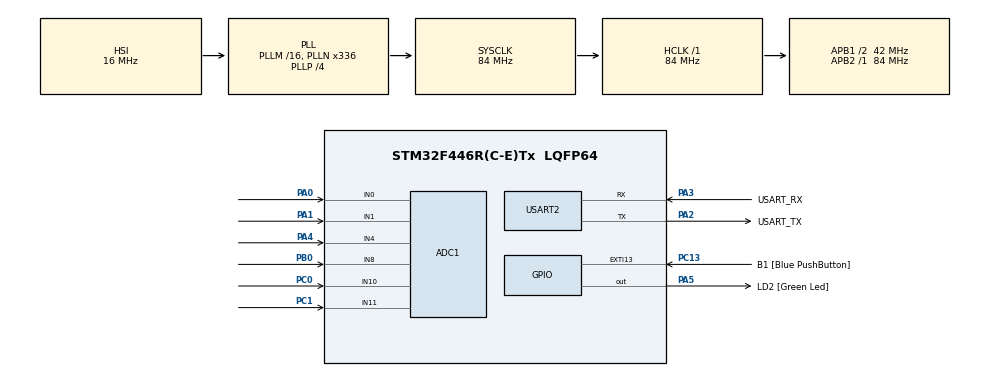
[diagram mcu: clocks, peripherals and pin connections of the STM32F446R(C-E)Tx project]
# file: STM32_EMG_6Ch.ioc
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ADC1.Channel-0\#ChannelRegularConversion=ADC_CHANNEL_0
ADC1.Channel-1\#ChannelRegularConversion=ADC_CHANNEL_1
ADC1.Channel-2\#ChannelRegularConversion=ADC_CHANNEL_4
ADC1.Channel-3\#ChannelRegularConversion=ADC_CHANNEL_8
ADC1.Channel-4\#ChannelRegularConversion=ADC_CHANNEL_11
ADC1.Channel-5\#ChannelRegularConversion=ADC_CHANNEL_10
ADC1.ContinuousConvMode=DISABLE
ADC1.DMAContinuousRequests=ENABLE
ADC1.ExternalTrigConv=ADC_EXTERNALTRIGCONV_T2_TRGO
ADC1.NbrOfConversion=6
ADC1.NbrOfConversionFlag=1
ADC1.Rank-0\#ChannelRegularConversion=1
ADC1.Rank-1\#ChannelRegularConversion=2
ADC1.Rank-2\#ChannelRegularConversion=3
ADC1.Rank-3\#ChannelRegularConversion=4
ADC1.Rank-4\#ChannelRegularConversion=5
ADC1.Rank-5\#ChannelRegularConversion=6
ADC1.SamplingTime-0\#ChannelRegularConversion=ADC_SAMPLETIME_3CYCLES
ADC1.SamplingTime-1\#ChannelRegularConversion=ADC_SAMPLETIME_3CYCLES
ADC1.SamplingTime-2\#ChannelRegularConversion=ADC_SAMPLETIME_3CYCLES
ADC1.SamplingTime-3\#ChannelRegularConversion=ADC_SAMPLETIME_3CYCLES
ADC1.SamplingTime-4\#ChannelRegularConversion=ADC_SAMPLETIME_3CYCLES
ADC1.SamplingTime-5\#ChannelRegularConversion=ADC_SAMPLETIME_3CYCLES
ADC1.ScanConvMode=ENABLE
ADC1.master=1
Dma.ADC1.0.Direction=DMA_PERIPH_TO_MEMORY
Dma.ADC1.0.FIFOMode=DMA_FIFOMODE_DISABLE
Dma.ADC1.0.Instance=DMA2_Stream0
Dma.ADC1.0.MemDataAlignment=DMA_MDATAALIGN_HALFWORD
Dma.ADC1.0.MemInc=DMA_MINC_ENABLE
Dma.ADC1.0.Mode=DMA_CIRCULAR
Dma.ADC1.0.PeriphDataAlignment=DMA_PDATAALIGN_HALFWORD
Dma.ADC1.0.PeriphInc=DMA_PINC_DISABLE
Dma.ADC1.0.Priority=DMA_PRIORITY_LOW
Dma.Request0=ADC1
Mcu.Family=STM32F4
Mcu.Name=STM32F446R(C-E)Tx
Mcu.Package=LQFP64
NVIC.ADC_IRQn=true\:0\:0\:false\:false\:true\:true\:true\:true
NVIC.DMA2_Stream0_IRQn=true\:0\:0\:false\:false\:true\:false\:true\:true
NVIC.PriorityGroup=NVIC_PRIORITYGROUP_0
NVIC.TIM1_UP_TIM10_IRQn=true\:0\:0\:false\:false\:true\:true\:true\:true
PA0-WKUP.Signal=ADCx_IN0
PA1.Signal=ADCx_IN1
PA13.GPIO_Label=TMS
PA13.Mode=Serial_Wire
PA13.Signal=SYS_JTMS-SWDIO
PA14.GPIO_Label=TCK
PA14.Mode=Serial_Wire
PA14.Signal=SYS_JTCK-SWCLK
PA2.GPIO_Label=USART_TX
PA2.Mode=Asynchronous
PA2.Signal=USART2_TX
PA3.GPIO_Label=USART_RX
PA3.Mode=Asynchronous
PA3.Signal=USART2_RX
PA4.Signal=ADCx_IN4
PA5.GPIO_Label=LD2 [Green Led]
PA5.Signal=GPIO_Output
PB0.Signal=ADCx_IN8
PB3.GPIO_Label=SWO
PB3.Signal=SYS_JTDO-SWO
PC0.Signal=ADCx_IN10
PC1.Signal=ADCx_IN11
PC13.GPIO_Label=B1 [Blue PushButton]
PC13.GPIO_ModeDefaultEXTI=GPIO_MODE_IT_FALLING
PC13.Signal=GPXTI13
PC14-OSC32_IN.Mode=LSE-External-Oscillator
PC14-OSC32_IN.Signal=RCC_OSC32_IN
PC15-OSC32_OUT.Mode=LSE-External-Oscillator
PC15-OSC32_OUT.Signal=RCC_OSC32_OUT
PH0-OSC_IN.Mode=HSE-External-Oscillator
PH0-OSC_IN.Signal=RCC_OSC_IN
PH1-OSC_OUT.Mode=HSE-External-Oscillator
PH1-OSC_OUT.Signal=RCC_OSC_OUT
ProjectManager.HeapSize=0x200
ProjectManager.StackSize=0x400
ProjectManager.TargetToolchain=STM32CubeIDE
RCC.48MHZClocksFreq_Value=84000000
RCC.AHBFreq_Value=84000000
RCC.APB1CLKDivider=RCC_HCLK_DIV2
RCC.APB1Freq_Value=42000000
RCC.APB1TimFreq_Value=84000000
RCC.APB2Freq_Value=84000000
RCC.APB2TimFreq_Value=84000000
RCC.CortexFreq_Value=84000000
RCC.FLatency-AdvancedSettings=FLASH_LATENCY_2
RCC.HCLKFreq_Value=84000000
RCC.HSE_VALUE=8000000
RCC.HSI_VALUE=16000000
RCC.PLLN=336
RCC.PLLP=RCC_PLLP_DIV4
RCC.SYSCLKFreq_VALUE=84000000
RCC.SYSCLKSource=RCC_SYSCLKSOURCE_PLLCLK
RCC.USBFreq_Value=168000000
RCC.VCOOutputFreq_Value=336000000
SH.ADCx_IN0.0=ADC1_IN0,IN0
SH.ADCx_IN1.0=ADC1_IN1,IN1
SH.ADCx_IN10.0=ADC1_IN10,IN10
SH.ADCx_IN11.0=ADC1_IN11,IN11
SH.ADCx_IN4.0=ADC1_IN4,IN4
SH.ADCx_IN8.0=ADC1_IN8,IN8
TIM1.Period=10000-1
TIM1.Prescaler=8400-1
TIM2.Period=1000-1
TIM2.Prescaler=84-1
TIM2.TIM_MasterOutputTrigger=TIM_TRGO_UPDATE
USART2.VirtualMode=VM_ASYNC
VP_TIM1_VS_ClockSourceINT.Mode=Internal
VP_TIM2_VS_ClockSourceINT.Mode=Internal
board=NUCLEO-F446RE

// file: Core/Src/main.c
/* USER CODE BEGIN Header */
/**
  ******************************************************************************
  * @file           : main.c
  * @brief          : Main program body
  ******************************************************************************
  * @attention
  *
  * Copyright (c) 2025 STMicroelectronics.
  * All rights reserved.
  *
  * This software is licensed under terms that can be found in the LICENSE file
  * in the root directory of this software component.
  * If no LICENSE file comes with this software, it is provided AS-IS.
  *
  ******************************************************************************
  */
/* USER CODE END Header */
#include "main.h"

/* USER CODE BEGIN Includes */
#include "notch_filter.h"
/* USER CODE END Includes */

ADC_HandleTypeDef hadc1;
DMA_HandleTypeDef hdma_adc1;

TIM_HandleTypeDef htim1;
TIM_HandleTypeDef htim2;

UART_HandleTypeDef huart2;

/* USER CODE BEGIN PV */
static NotchState g_notch50;
static NotchState g_notch60;

uint32_t hclk = 84000000;

uint32_t timer_prescaler = 84 - 1;
uint32_t timer_arr;

uint32_t sampling_freq;
uint32_t timer_freq;

uint16_t adc_values[6];
uint16_t tmp[6];
uint16_t filt[6];
__IO uint8_t adc_conv = 0;

uint16_t timer_reload = 0;
uint16_t timer_val;

uint8_t tx_buffer[16];

/* USER CODE END PV */

void SystemClock_Config(void);
static void MX_GPIO_Init(void);
static void MX_DMA_Init(void);
static void MX_USART2_UART_Init(void);
static void MX_ADC1_Init(void);
static void MX_TIM2_Init(void);
static void MX_TIM1_Init(void);

/* USER CODE BEGIN 0 */
void HAL_ADC_ConvCpltCallback(ADC_HandleTypeDef *hadc)
{
	if (hadc->Instance == ADC1)
	{
		adc_conv = 1;
	}
}

void HAL_TIM_PeriodElapsedCallback(TIM_HandleTypeDef *htim)
{
	if (htim == &htim1)
	{
		timer_reload += 1;
	}
}
/* USER CODE END 0 */

int main(void)
{

  /* USER CODE BEGIN 1 */
  sampling_freq = 250; /* t = 1/1000 = 1 ms */
  timer_freq = hclk / (timer_prescaler + 1); /* 1000000 Hz, t = 1/1000000 = 1 us */
  timer_arr = (timer_freq / sampling_freq) - 1; /* 1000 */
  /* USER CODE END 1 */

  /* MCU Configuration--------------------------------------------------------*/

  /* Reset of all peripherals, Initializes the Flash interface and the Systick. */
  HAL_Init();

  /* Configure the system clock */
  SystemClock_Config();

  /* Initialize all configured peripherals */
  MX_GPIO_Init();
  MX_DMA_Init();
  MX_USART2_UART_Init();
  MX_ADC1_Init();
  MX_TIM2_Init();
  MX_TIM1_Init();
  /* USER CODE BEGIN 2 */
  HAL_ADC_Start_DMA(&hadc1, (uint32_t*)adc_values, 6);

  HAL_TIM_Base_Start(&htim2);
  HAL_TIM_Base_Start_IT(&htim1);

  Notch_Init(&g_notch50, sampling_freq, 50, 30);
  Notch_Init(&g_notch60, sampling_freq, 60, 30);
  /* USER CODE END 2 */

  /* Infinite loop */
  /* USER CODE BEGIN WHILE */
  while (1)
  {
	  if (adc_conv == 1)
	  {
		  timer_val = (uint16_t)(__HAL_TIM_GET_COUNTER(&htim1) / 10) + (1000 * timer_reload);

		  Notch_FilterArray(&g_notch50, adc_values, tmp, 6, 0, 4095);
		  Notch_FilterArray(&g_notch60, tmp, filt, 6, 0, 4095);

		  // Pack exactly like original
		  tx_buffer[0]  = 0xAA;  // Header byte 1
		  tx_buffer[1]  = 0x55;  // Header byte 2

		  // 6 channels, each LSB then MSB
		  tx_buffer[2]  =  filt[0]        & 0xFF;
		  tx_buffer[3]  = (filt[0] >> 8)  & 0xFF;

		  tx_buffer[4]  =  filt[1]        & 0xFF;
		  tx_buffer[5]  = (filt[1] >> 8)  & 0xFF;

		  tx_buffer[6]  =  filt[2]        & 0xFF;
		  tx_buffer[7]  = (filt[2] >> 8)  & 0xFF;

		  tx_buffer[8]  =  filt[3]        & 0xFF;
		  tx_buffer[9]  = (filt[3] >> 8)  & 0xFF;

		  tx_buffer[10] =  filt[4]        & 0xFF;
		  tx_buffer[11] = (filt[4] >> 8)  & 0xFF;

		  tx_buffer[12] =  filt[5]        & 0xFF;
		  tx_buffer[13] = (filt[5] >> 8)  & 0xFF;

		  // Timer value (LSB then MSB)
		  tx_buffer[14] =  timer_val       & 0xFF;
		  tx_buffer[15] = (timer_val >> 8) & 0xFF;

		  // Transmit
		  HAL_UART_Transmit(&huart2, tx_buffer, sizeof(tx_buffer), HAL_MAX_DELAY);

//	      tx_buffer[0] = 0xAA;  // Header byte 1
//	      tx_buffer[1] = 0x55;  // Header byte 2
//
//	      // Pack all 6 ADC channels (LSB then MSB)
//	      tx_buffer[2]  = adc_values[0] & 0xFF;
//	      tx_buffer[3]  = (adc_values[0] >> 8) & 0xFF;
//
//	      tx_buffer[4]  = adc_values[1] & 0xFF;
//	      tx_buffer[5]  = (adc_values[1] >> 8) & 0xFF;
//
//	      tx_buffer[6]  = adc_values[2] & 0xFF;
//	      tx_buffer[7]  = (adc_values[2] >> 8) & 0xFF;
//
//	      tx_buffer[8]  = adc_values[3] & 0xFF;
//	      tx_buffer[9]  = (adc_values[3] >> 8) & 0xFF;
//
//	      tx_buffer[10] = adc_values[4] & 0xFF;
//	      tx_buffer[11] = (adc_values[4] >> 8) & 0xFF;
//
//	      tx_buffer[12] = adc_values[5] & 0xFF;
//	      tx_buffer[13] = (adc_values[5] >> 8) & 0xFF;
//
//	      // Timer value (LSB then MSB)
//	      tx_buffer[14] = timer_val & 0xFF;
//	      tx_buffer[15] = (timer_val >> 8) & 0xFF;
//
//	      HAL_UART_Transmit(&huart2, tx_buffer, sizeof(tx_buffer), HAL_MAX_DELAY);

		  adc_conv = 0;
	  }
    /* USER CODE END WHILE */

  }
}

void SystemClock_Config(void)
{
  RCC_OscInitTypeDef RCC_OscInitStruct = {0};
  RCC_ClkInitTypeDef RCC_ClkInitStruct = {0};

  /** Configure the main internal regulator output voltage
  */
  __HAL_RCC_PWR_CLK_ENABLE();
  __HAL_PWR_VOLTAGESCALING_CONFIG(PWR_REGULATOR_VOLTAGE_SCALE3);

  /** Initializes the RCC Oscillators according to the specified parameters
  * in the RCC_OscInitTypeDef structure.
  */
  RCC_OscInitStruct.OscillatorType = RCC_OSCILLATORTYPE_HSI;
  RCC_OscInitStruct.HSIState = RCC_HSI_ON;
  RCC_OscInitStruct.HSICalibrationValue = RCC_HSICALIBRATION_DEFAULT;
  RCC_OscInitStruct.PLL.PLLState = RCC_PLL_ON;
  RCC_OscInitStruct.PLL.PLLSource = RCC_PLLSOURCE_HSI;
  RCC_OscInitStruct.PLL.PLLM = 16;
  RCC_OscInitStruct.PLL.PLLN = 336;
  RCC_OscInitStruct.PLL.PLLP = RCC_PLLP_DIV4;
  RCC_OscInitStruct.PLL.PLLQ = 2;
  RCC_OscInitStruct.PLL.PLLR = 2;
  if (HAL_RCC_OscConfig(&RCC_OscInitStruct) != HAL_OK)
  {
    Error_Handler();
  }

  /** Initializes the CPU, AHB and APB buses clocks
  */
  RCC_ClkInitStruct.ClockType = RCC_CLOCKTYPE_HCLK|RCC_CLOCKTYPE_SYSCLK
                              |RCC_CLOCKTYPE_PCLK1|RCC_CLOCKTYPE_PCLK2;
  RCC_ClkInitStruct.SYSCLKSource = RCC_SYSCLKSOURCE_PLLCLK;
  RCC_ClkInitStruct.AHBCLKDivider = RCC_SYSCLK_DIV1;
  RCC_ClkInitStruct.APB1CLKDivider = RCC_HCLK_DIV2;
  RCC_ClkInitStruct.APB2CLKDivider = RCC_HCLK_DIV1;

  if (HAL_RCC_ClockConfig(&RCC_ClkInitStruct, FLASH_LATENCY_2) != HAL_OK)
  {
    Error_Handler();
  }
}

static void MX_ADC1_Init(void)
{

  ADC_ChannelConfTypeDef sConfig = {0};

  /** Configure the global features of the ADC (Clock, Resolution, Data Alignment and number of conversion)
  */
  hadc1.Instance = ADC1;
  hadc1.Init.ClockPrescaler = ADC_CLOCK_SYNC_PCLK_DIV4;
  hadc1.Init.Resolution = ADC_RESOLUTION_12B;
  hadc1.Init.ScanConvMode = ENABLE;
  hadc1.Init.ContinuousConvMode = DISABLE;
  hadc1.Init.DiscontinuousConvMode = DISABLE;
  hadc1.Init.ExternalTrigConvEdge = ADC_EXTERNALTRIGCONVEDGE_RISING;
  hadc1.Init.ExternalTrigConv = ADC_EXTERNALTRIGCONV_T2_TRGO;
  hadc1.Init.DataAlign = ADC_DATAALIGN_RIGHT;
  hadc1.Init.NbrOfConversion = 6;
  hadc1.Init.DMAContinuousRequests = ENABLE;
  hadc1.Init.EOCSelection = ADC_EOC_SINGLE_CONV;
  if (HAL_ADC_Init(&hadc1) != HAL_OK)
  {
    Error_Handler();
  }

  /** Configure for the selected ADC regular channel its corresponding rank in the sequencer and its sample time.
  */
  sConfig.Channel = ADC_CHANNEL_0;
  sConfig.Rank = 1;
  sConfig.SamplingTime = ADC_SAMPLETIME_3CYCLES;
  if (HAL_ADC_ConfigChannel(&hadc1, &sConfig) != HAL_OK)
  {
    Error_Handler();
  }

  /** Configure for the selected ADC regular channel its corresponding rank in the sequencer and its sample time.
  */
  sConfig.Channel = ADC_CHANNEL_1;
  sConfig.Rank = 2;
  if (HAL_ADC_ConfigChannel(&hadc1, &sConfig) != HAL_OK)
  {
    Error_Handler();
  }

  /** Configure for the selected ADC regular channel its corresponding rank in the sequencer and its sample time.
  */
  sConfig.Channel = ADC_CHANNEL_4;
  sConfig.Rank = 3;
  if (HAL_ADC_ConfigChannel(&hadc1, &sConfig) != HAL_OK)
  {
    Error_Handler();
  }

  /** Configure for the selected ADC regular channel its corresponding rank in the sequencer and its sample time.
  */
  sConfig.Channel = ADC_CHANNEL_8;
  sConfig.Rank = 4;
  if (HAL_ADC_ConfigChannel(&hadc1, &sConfig) != HAL_OK)
  {
    Error_Handler();
  }

  /** Configure for the selected ADC regular channel its corresponding rank in the sequencer and its sample time.
  */
  sConfig.Channel = ADC_CHANNEL_11;
  sConfig.Rank = 5;
  if (HAL_ADC_ConfigChannel(&hadc1, &sConfig) != HAL_OK)
  {
    Error_Handler();
  }

  /** Configure for the selected ADC regular channel its corresponding rank in the sequencer and its sample time.
  */
  sConfig.Channel = ADC_CHANNEL_10;
  sConfig.Rank = 6;
  if (HAL_ADC_ConfigChannel(&hadc1, &sConfig) != HAL_OK)
  {
    Error_Handler();
  }

}

static void MX_TIM1_Init(void)
{

  TIM_ClockConfigTypeDef sClockSourceConfig = {0};
  TIM_MasterConfigTypeDef sMasterConfig = {0};

  htim1.Instance = TIM1;
  htim1.Init.Prescaler = 8400-1;
  htim1.Init.CounterMode = TIM_COUNTERMODE_UP;
  htim1.Init.Period = 10000-1;
  htim1.Init.ClockDivision = TIM_CLOCKDIVISION_DIV1;
  htim1.Init.RepetitionCounter = 0;
  htim1.Init.AutoReloadPreload = TIM_AUTORELOAD_PRELOAD_DISABLE;
  if (HAL_TIM_Base_Init(&htim1) != HAL_OK)
  {
    Error_Handler();
  }
  sClockSourceConfig.ClockSource = TIM_CLOCKSOURCE_INTERNAL;
  if (HAL_TIM_ConfigClockSource(&htim1, &sClockSourceConfig) != HAL_OK)
  {
    Error_Handler();
  }
  sMasterConfig.MasterOutputTrigger = TIM_TRGO_RESET;
  sMasterConfig.MasterSlaveMode = TIM_MASTERSLAVEMODE_DISABLE;
  if (HAL_TIMEx_MasterConfigSynchronization(&htim1, &sMasterConfig) != HAL_OK)
  {
    Error_Handler();
  }

}

static void MX_TIM2_Init(void)
{

  TIM_ClockConfigTypeDef sClockSourceConfig = {0};
  TIM_MasterConfigTypeDef sMasterConfig = {0};

  htim2.Instance = TIM2;
  htim2.Init.Prescaler = 84-1;
  htim2.Init.CounterMode = TIM_COUNTERMODE_UP;
  htim2.Init.Period = timer_arr;
  htim2.Init.ClockDivision = TIM_CLOCKDIVISION_DIV1;
  htim2.Init.AutoReloadPreload = TIM_AUTORELOAD_PRELOAD_DISABLE;
  if (HAL_TIM_Base_Init(&htim2) != HAL_OK)
  {
    Error_Handler();
  }
  sClockSourceConfig.ClockSource = TIM_CLOCKSOURCE_INTERNAL;
  if (HAL_TIM_ConfigClockSource(&htim2, &sClockSourceConfig) != HAL_OK)
  {
    Error_Handler();
  }
  sMasterConfig.MasterOutputTrigger = TIM_TRGO_UPDATE;
  sMasterConfig.MasterSlaveMode = TIM_MASTERSLAVEMODE_DISABLE;
  if (HAL_TIMEx_MasterConfigSynchronization(&htim2, &sMasterConfig) != HAL_OK)
  {
    Error_Handler();
  }

}

static void MX_USART2_UART_Init(void)
{

  huart2.Instance = USART2;
  huart2.Init.BaudRate = 115200;
  huart2.Init.WordLength = UART_WORDLENGTH_8B;
  huart2.Init.StopBits = UART_STOPBITS_1;
  huart2.Init.Parity = UART_PARITY_NONE;
  huart2.Init.Mode = UART_MODE_TX_RX;
  huart2.Init.HwFlowCtl = UART_HWCONTROL_NONE;
  huart2.Init.OverSampling = UART_OVERSAMPLING_16;
  if (HAL_UART_Init(&huart2) != HAL_OK)
  {
    Error_Handler();
  }

}

static void MX_DMA_Init(void)
{

  /* DMA controller clock enable */
  __HAL_RCC_DMA2_CLK_ENABLE();

  /* DMA interrupt init */
  /* DMA2_Stream0_IRQn interrupt configuration */
  HAL_NVIC_SetPriority(DMA2_Stream0_IRQn, 0, 0);
  HAL_NVIC_EnableIRQ(DMA2_Stream0_IRQn);

}

static void MX_GPIO_Init(void)
{
  GPIO_InitTypeDef GPIO_InitStruct = {0};

  /* GPIO Ports Clock Enable */
  __HAL_RCC_GPIOC_CLK_ENABLE();
  __HAL_RCC_GPIOH_CLK_ENABLE();
  __HAL_RCC_GPIOA_CLK_ENABLE();
  __HAL_RCC_GPIOB_CLK_ENABLE();

  /*Configure GPIO pin Output Level */
  HAL_GPIO_WritePin(LD2_GPIO_Port, LD2_Pin, GPIO_PIN_RESET);

  /*Configure GPIO pin : B1_Pin */
  GPIO_InitStruct.Pin = B1_Pin;
  GPIO_InitStruct.Mode = GPIO_MODE_IT_FALLING;
  GPIO_InitStruct.Pull = GPIO_NOPULL;
  HAL_GPIO_Init(B1_GPIO_Port, &GPIO_InitStruct);

  /*Configure GPIO pin : LD2_Pin */
  GPIO_InitStruct.Pin = LD2_Pin;
  GPIO_InitStruct.Mode = GPIO_MODE_OUTPUT_PP;
  GPIO_InitStruct.Pull = GPIO_NOPULL;
  GPIO_InitStruct.Speed = GPIO_SPEED_FREQ_LOW;
  HAL_GPIO_Init(LD2_GPIO_Port, &GPIO_InitStruct);

}

void Error_Handler(void)
{
  __disable_irq();
  while (1)
  {
  }
}
